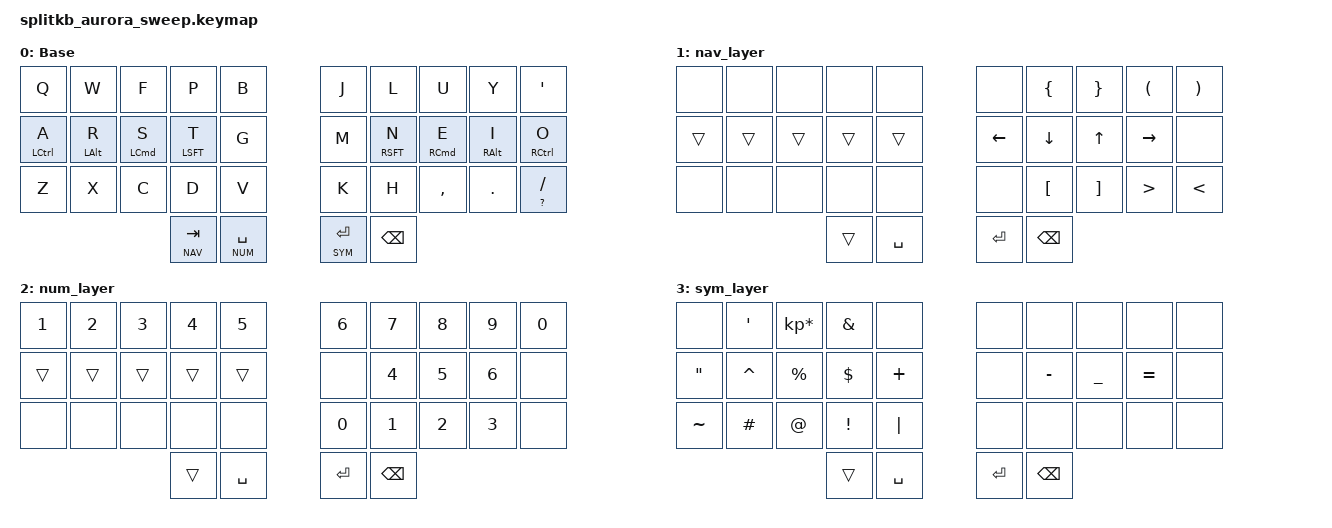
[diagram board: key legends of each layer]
/*
 * Copyright (c) 2022 The ZMK Contributors
 *
 * SPDX-License-Identifier: MIT
 */

#include <behaviors.dtsi>
#include <dt-bindings/zmk/keys.h>
#include <dt-bindings/zmk/bt.h>

#define BASE 0
#define NAV  1
#define NUM  2
#define SYM  3

/ {
    behaviors {
        hm: homerow_mods {
            compatible = "zmk,behavior-hold-tap";
            label = "HOMEROW_MODS";
            #binding-cells = <2>;
            tapping-term-ms = <200>;
            quick-tap-ms = <0>;
            flavor = "tap-preferred";
            bindings = <&kp>, <&kp>;
        };
    };
    combos {
        compatible = "zmk,combos";
        /* KEY POSITIONS
          ╭────────────────────╮ ╭────────────────────╮
          │  0   1   2   3   4 │ │  5   6   7   8   9 │
          │ 10  11  12  13  14 │ │ 15  16  17  18  19 │
          │ 20  21  22  23  24 │ │ 25  26  27  28  29 │
          ╰───────────╮ 30  31 │ │ 32  33 ╭───────────╯
                      ╰────────╯ ╰────────╯            */
        combo_esc {
            timeout-ms = <50>;
            key-positions = <10 19>;
            bindings = <&kp ESC>;
        };

        combo_colon {
            timeout-ms = <50>;
            key-positions = <13 16>;
            bindings = <&kp COLON>;
        };

        combo_minus {
            timeout-ms = <50>;
            key-positions = <3 6>;
            bindings = <&kp MINUS>;
        };

        combo_under {
            timeout-ms = <50>;
            key-positions = <23 26>;
            bindings = <&kp UNDER>;
        };

        combo_capsword {
            timeout-ms = <50>;
            key-positions = <20 29>;
            bindings = <&caps_word>;
        };
    };

    keymap {
        compatible = "zmk,keymap";

        default_layer {
            label = "Base";
            bindings = <
                &kp Q           &kp W           &kp F           &kp P           &kp B              &kp J      &kp L           &kp U           &kp Y           &kp SQT
                &hm LCTL A  &hm LALT R  &hm LCMD S  &hm LSFT T  &kp G              &kp M      &hm RSFT N  &hm RCMD E  &hm RALT I  &hm RCTL O
                &kp Z           &kp X           &kp C           &kp D           &kp V              &kp K      &kp H           &kp CMMA        &kp DOT         &mt QMARK FSLH
                                                                &lt NAV TAB     &lt NUM SPC        &lt SYM ENTER  &kp BSPC
            >;
        };

        nav_layer {
            bindings = <
                &none  &none  &none  &none  &none          &none      &kp LBRC    &kp RBRC   &kp LPAR  &kp RPAR
                &trans &trans &trans &trans &trans         &kp LEFT    &kp DOWN   &kp UP    &kp RIGHT  &none
                &none  &none  &none  &none  &none          &none      &kp LBKT    &kp RBKT   &kp GT    &kp LT
                                     &trans &kp SPC        &kp ENTER  &kp BSPC
            >;
        };

        num_layer {
            bindings = <
                &kp N1  &kp N2  &kp N3  &kp N4  &kp N5          &kp N6   &kp N7  &kp N8  &kp N9  &kp N0
                &trans &trans &trans &trans &trans         &none   &kp N4  &kp N5  &kp N6  &none
                &none  &none  &none  &none  &none          &kp N0  &kp N1  &kp N2  &kp N3  &none
                                     &trans &kp SPC        &kp ENTER  &kp BSPC
            >;
        };

        sym_layer {
            bindings = <
                &none      &kp SQT    &kp KP_ASTERISK  &kp AMPERSAND  &none        &none  &none  &none  &none  &none
                &kp DQT    &kp CARET  &kp PERCENT      &kp DOLLAR     &kp PLUS     &none  &kp MINUS  &kp UNDER  &kp EQUAL  &none
                &kp TILDE  &kp HASH   &kp AT           &kp EXCL       &kp PIPE     &none  &none  &none  &none  &none
                                                       &trans         &kp SPC      &kp ENTER  &kp BSPC
            >;
        };
    };
};
